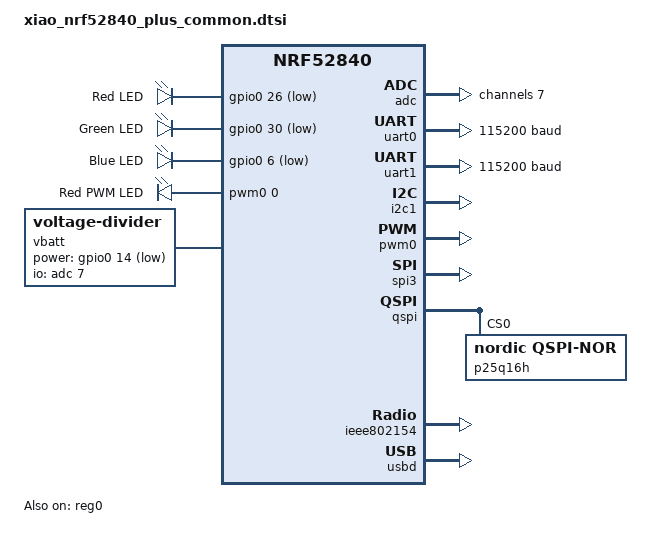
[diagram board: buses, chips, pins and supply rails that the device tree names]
/*
 * SPDX-FileCopyrightText: Copyright The Zephyr Project Contributors
 * SPDX-License-Identifier: Apache-2.0
 */

#include <nordic/nrf52840_qiaa.dtsi>
#include <nordic/nrf52840_partition_uf2_sdv7.dtsi>
#include <zephyr/dt-bindings/adc/adc.h>
#include <zephyr/dt-bindings/adc/nrf-saadc.h>
#include "xiao_nrf52840_plus-pinctrl.dtsi"
#include "seeed_xiao_connector.dtsi"
#include "seeed_xiao_plus_connector.dtsi"

/ {
	chosen {
		zephyr,ieee802154 = &ieee802154;
	};

	leds {
		compatible = "gpio-leds";

		led0: led_0 {
			gpios = <&gpio0 26 GPIO_ACTIVE_LOW>;
			label = "Red LED";
		};

		led1: led_1 {
			gpios = <&gpio0 30 GPIO_ACTIVE_LOW>;
			label = "Green LED";
		};

		led2: led_2 {
			gpios = <&gpio0 6 GPIO_ACTIVE_LOW>;
			label = "Blue LED";
		};
	};

	pwmleds {
		compatible = "pwm-leds";

		pwm_led0: pwm_led_0 {
			pwms = <&pwm0 0 PWM_MSEC(20) PWM_POLARITY_INVERTED>;
			label = "Red PWM LED";
		};
	};

	/*
	 * READ_BAT (P0.14) connects the bottom of the divider to ground when
	 * driven low. It is left floating otherwise, as driving it high raises
	 * AIN7 close to its maximum input voltage.
	 */
	vbatt: battery-divider {
		compatible = "voltage-divider";
		io-channels = <&adc 7>;
		output-ohms = <510000>;
		full-ohms = <(1000000 + 510000)>;
		power-gpios = <&gpio0 14 (GPIO_OPEN_DRAIN | GPIO_ACTIVE_LOW)>;
	};

	aliases {
		led0 = &led0;
		led1 = &led1;
		led2 = &led2;
		pwm-led0 = &pwm_led0;
		mcuboot-led0 = &led0;
		watchdog0 = &wdt0;
	};
};

&reg0 {
	status = "okay";
};

&reg1 {
	regulator-initial-mode = <NRF5X_REG_MODE_DCDC>;
};

&adc {
	#address-cells = <1>;
	#size-cells = <0>;
	status = "okay";

	channel@7 {
		reg = <7>;
		zephyr,gain = "ADC_GAIN_1_6";
		zephyr,reference = "ADC_REF_INTERNAL";
		zephyr,vref-mv = <600>;
		zephyr,acquisition-time = <ADC_ACQ_TIME(ADC_ACQ_TIME_MICROSECONDS, 40)>;
		zephyr,input-positive = <NRF_SAADC_AIN7>;
		zephyr,resolution = <12>;
	};
};

&uicr {
	gpio-as-nreset;
};

&gpiote {
	status = "okay";
};

&gpio0 {
	status = "okay";
};

&gpio1 {
	status = "okay";
};

&uart0 {
	compatible = "nordic,nrf-uarte";
	status = "okay";
	current-speed = <115200>;
	pinctrl-0 = <&uart0_default>;
	pinctrl-1 = <&uart0_sleep>;
	pinctrl-names = "default", "sleep";
};

/* D14 and D15 are the NFC antenna pins, see nfct-pins-as-gpios in &uicr */
&uart1 {
	compatible = "nordic,nrf-uarte";
	current-speed = <115200>;
	pinctrl-0 = <&uart1_default>;
	pinctrl-1 = <&uart1_sleep>;
	pinctrl-names = "default", "sleep";
};

&i2c1 {
	compatible = "nordic,nrf-twim";
	status = "okay";
	pinctrl-0 = <&i2c1_default>;
	pinctrl-1 = <&i2c1_sleep>;
	pinctrl-names = "default", "sleep";
};

&pwm0 {
	status = "okay";
	pinctrl-0 = <&pwm0_default>;
	pinctrl-1 = <&pwm0_sleep>;
	pinctrl-names = "default", "sleep";
};

&spi2 {
	compatible = "nordic,nrf-spim";
	pinctrl-0 = <&spi2_default>;
	pinctrl-1 = <&spi2_sleep>;
	pinctrl-names = "default", "sleep";
};

&spi3 {
	compatible = "nordic,nrf-spim";
	status = "okay";
	pinctrl-0 = <&spi3_default>;
	pinctrl-1 = <&spi3_sleep>;
	pinctrl-names = "default", "sleep";
};

&qspi {
	status = "okay";
	pinctrl-0 = <&qspi_default>;
	pinctrl-1 = <&qspi_sleep>;
	pinctrl-names = "default", "sleep";

	p25q16h: p25q16h@0 {
		compatible = "nordic,qspi-nor";
		reg = <0>;
		sck-frequency = <104000000>;
		quad-enable-requirements = "S2B1v1";
		jedec-id = [85 60 15];
		sfdp-bfp = [e5 20 f1 ff ff ff ff 00 44 eb 08 6b 08 3b 80 bb
			    ee ff ff ff ff ff 00 ff ff ff 00 ff 0c 20 0f 52
			    10 d8 08 81];
		size = <16777216>;
		has-dpd;
		t-enter-dpd = <3000>;
		t-exit-dpd = <8000>;
	};
};

&ieee802154 {
	status = "okay";
};

zephyr_udc0: &usbd {
	compatible = "nordic,nrf-usbd";
	status = "okay";
};

#include <../boards/common/usb/cdc_acm_serial.dtsi>
